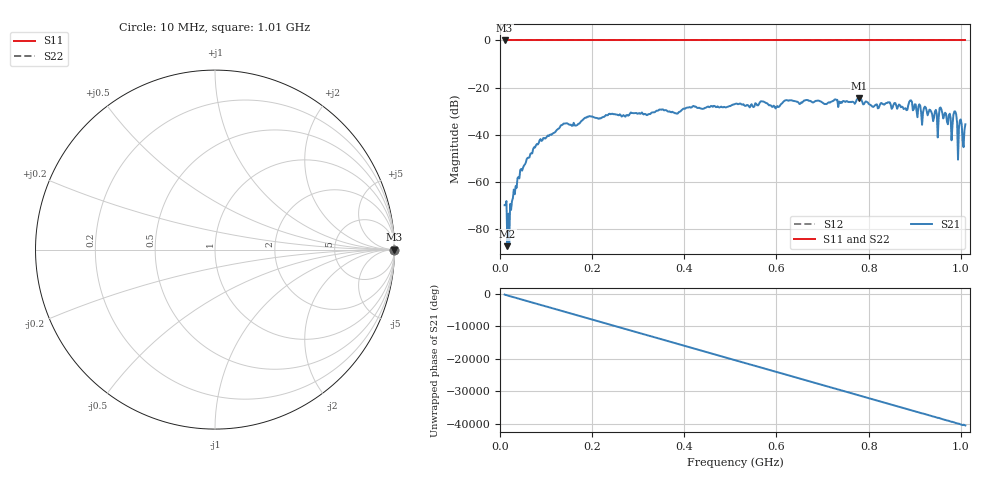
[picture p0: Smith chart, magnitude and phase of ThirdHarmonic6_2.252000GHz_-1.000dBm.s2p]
! 8/17/2025 2:43:05 AM
! C:\ANRITSUVNA\TEMP\TEMP.S2P
! CHANNEL.1
! TR.MEASUREMENT
! RAW.DATA
! RF.CORRECTION.OFF
! AVERAGING.OFF
! IF.BANDWIDTH: 5KHZ
! SWEEPTYPE:  FREQ.SWEEP(Linear)
! Reference Plane Port Info
! PORT:  PORT1  PORT2
! DISTANCE:  0  m  0  m
! TIME:  0  s  0  s
! PHASE.OFFSET:  0  deg.  0  deg.
! LOSS:  0  dB  0  dB
! REF.LOSS:  0  dB  0  dB
! REF.FREQ:  0  Hz  0  Hz
! Power Info
! POWER:  -20  dBm  -20  dBm
! EFF.POWER:  -20  dBm  -20  dBm
! SOURCE.ATTEN:  0  dB  0  dB
! TEST.ATTEN:  0  dB  0  dB
# GHZ S RI R 50.0
! FREQ.GHZ  S11RE  S11IM  S21RE  S21IM  S12RE  S12IM  S22RE  S22IM
!; PortSelection: Port_12
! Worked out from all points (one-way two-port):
!   501 points, 10 MHz to 1.01 GHz, reference 50 ohm
!   highest |S21| = -24.47 dB at 780 MHz (marker M1); lowest = -87.2 dB at 16 MHz (marker M2)
!   lowest |S11| = 0.0 dB at 10 MHz (marker M3)
!   |S11| at or under -10 dB: nowhere
!   |S22| runs from 0.0 to 0.0 dB; largest |S21 - S12| = 1.1
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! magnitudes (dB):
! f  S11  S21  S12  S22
! 10 MHz  0.0  -69.8  0.0  0.0
! 16 MHz  0.0  -87.2  0.0  0.0
! 20 MHz  0.0  -86.6  0.0  0.0
! 26 MHz  0.0  -68.1  0.0  0.0
! 42 MHz  0.0  -58.5  0.0  0.0
! 76 MHz  0.0  -45.4  0.0  0.0
! 136 MHz  0.0  -35.7  0.0  0.0
! 178 MHz  0.0  -34.0  0.0  0.0
! 344 MHz  0.0  -29.6  0.0  0.0
! 510 MHz  0.0  -26.9  0.0  0.0
! 678 MHz  0.0  -26.2  0.0  0.0
! 780 MHz  0.0  -24.5  0.0  0.0
! 808 MHz  0.0  -28.0  0.0  0.0
! 844 MHz  0.0  -26.3  0.0  0.0
! 880 MHz  0.0  -28.7  0.0  0.0
! 890 MHz  0.0  -25.5  0.0  0.0
! 946 MHz  0.0  -29.4  0.0  0.0
! 958 MHz  0.0  -29.2  0.0  0.0
! 976 MHz  0.0  -31.0  0.0  0.0
! 988 MHz  0.0  -30.1  0.0  0.0
! 994 MHz  0.0  -50.5  0.0  0.0
! 1.01 GHz  0.0  -35.5  0.0  0.0
